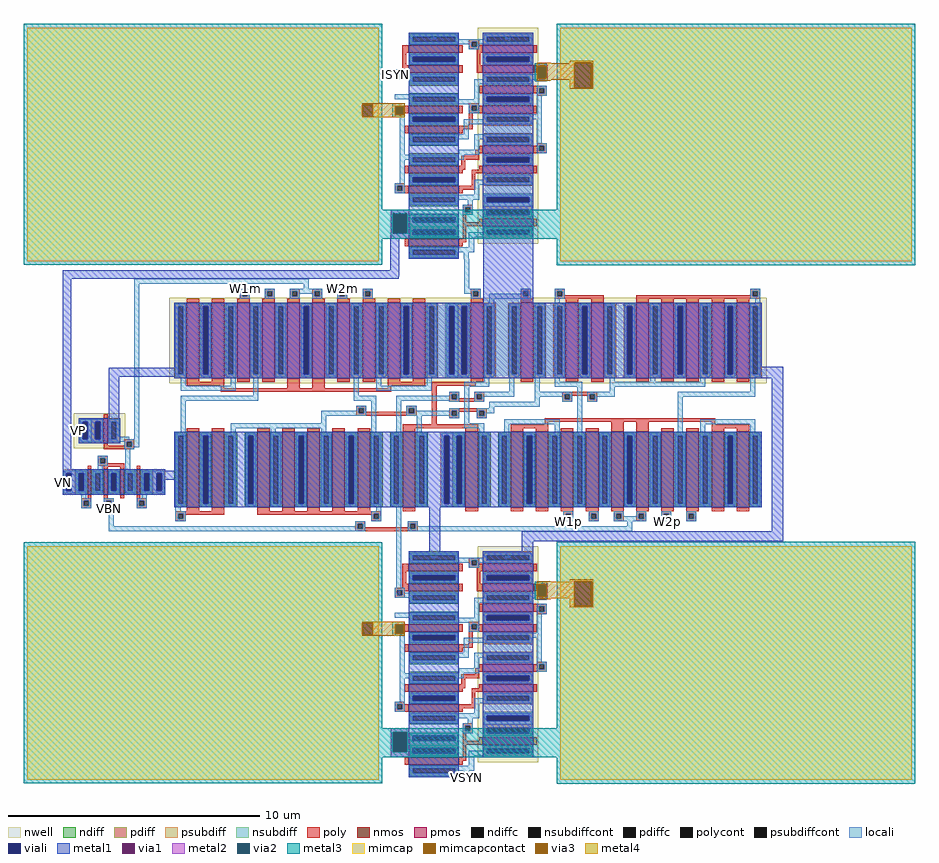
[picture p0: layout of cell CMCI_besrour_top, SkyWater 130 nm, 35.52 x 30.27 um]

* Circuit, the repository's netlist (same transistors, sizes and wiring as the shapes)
* NGSPICE file created from CMCI_besrour_top.ext - technology: sky130A

.subckt bias_gen VP VN VBN VBP
X0 VBP VBN VN VN sky130_fd_pr__nfet_01v8 ad=0.25 pd=1.5 as=0.25 ps=1.5 w=1 l=0.15
X1 VBN VN VN VN sky130_fd_pr__nfet_01v8 ad=0.25 pd=1.5 as=0.5 ps=3 w=1 l=0.15
X2 VBP VBP VP VP sky130_fd_pr__pfet_01v8 ad=0.5 pd=3 as=0.5 ps=3 w=1 l=0.15
X3 VN VBN VBN VN sky130_fd_pr__nfet_01v8 ad=0.25 pd=1.5 as=0.25 ps=1.5 w=1 l=0.15
X4 VN VN VBP VN sky130_fd_pr__nfet_01v8 ad=0.5 pd=3 as=0.25 ps=1.5 w=1 l=0.15
.ends

.subckt CMCI_synapse W1m W0m VBP W2m W3m VP IOUT SPKIN W1p W0p VBN W2p W3p VN
X0 a_450_n1180# W2m a_990_n90# VP sky130_fd_pr__pfet_01v8 ad=0.75 pd=3.5 as=0.75 ps=3.5 w=3 l=0.5
X1 a_190_n1120# SPKIN IOUT VN sky130_fd_pr__nfet_01v8 ad=1.5 pd=7 as=1.5 ps=7 w=3 l=0.5
X2 VN VBN a_3970_n1120# VN sky130_fd_pr__nfet_01v8 ad=0.75 pd=3.5 as=0.75 ps=3.5 w=3 l=0.5
X3 a_3170_n1120# W0p a_2810_n90# VN sky130_fd_pr__nfet_01v8 ad=0.75 pd=3.5 as=0.75 ps=3.5 w=3 l=0.5
X4 a_190_n1120# a_n210_n1120# VN VN sky130_fd_pr__nfet_01v8 ad=1.5 pd=7 as=0.75 ps=3.5 w=3 l=0.5
X5 VN a_n210_n1120# a_n210_n1120# VN sky130_fd_pr__nfet_01v8 ad=0.75 pd=3.5 as=1.5 ps=7 w=3 l=0.5
X6 VP VBP a_590_n90# VP sky130_fd_pr__pfet_01v8 ad=0.75 pd=3.5 as=0.75 ps=3.5 w=3 l=0.5
X7 VP a_2810_n90# a_2810_n90# VP sky130_fd_pr__pfet_01v8 ad=0.75 pd=3.5 as=1.5 ps=7 w=3 l=0.5
X8 VN a_450_n1180# a_190_n1120# VN sky130_fd_pr__nfet_01v8 ad=0.75 pd=3.5 as=0.75 ps=3.5 w=3 l=0.5
X9 a_3470_n120# a_3470_n120# VP VP sky130_fd_pr__pfet_01v8 ad=1.5 pd=7 as=0.75 ps=3.5 w=3 l=0.5
X10 a_1390_n90# VBP VP VP sky130_fd_pr__pfet_01v8 ad=1.5 pd=7 as=0.75 ps=3.5 w=3 l=0.5
X11 VP a_3470_n120# a_190_n1120# VP sky130_fd_pr__pfet_01v8 ad=0.75 pd=3.5 as=0.75 ps=3.5 w=3 l=0.5
X12 a_n210_n90# VBP VP VP sky130_fd_pr__pfet_01v8 ad=0.75 pd=3.5 as=0.75 ps=3.5 w=3 l=0.5
X13 a_190_n1120# a_2810_n90# VP VP sky130_fd_pr__pfet_01v8 ad=1.5 pd=7 as=0.75 ps=3.5 w=3 l=0.5
X14 a_190_n1120# a_450_n1180# VN VN sky130_fd_pr__nfet_01v8 ad=0.75 pd=3.5 as=1.5 ps=7 w=3 l=0.5
X15 a_n210_n1120# W1m a_n210_n90# VP sky130_fd_pr__pfet_01v8 ad=0.75 pd=3.5 as=0.75 ps=3.5 w=3 l=0.5
X16 a_190_n1120# a_2210_n1120# IOUT VP sky130_fd_pr__pfet_01v8 ad=1.5 pd=7 as=1.5 ps=7 w=3 l=0.5
X17 a_2810_n90# W1p a_2370_n1120# VN sky130_fd_pr__nfet_01v8 ad=0.75 pd=3.5 as=0.75 ps=3.5 w=3 l=0.5
X18 a_3970_n1120# W3p a_3470_n120# VN sky130_fd_pr__nfet_01v8 ad=0.75 pd=3.5 as=0.75 ps=3.5 w=3 l=0.5
X19 a_450_n1180# a_450_n1180# VN VN sky130_fd_pr__nfet_01v8 ad=1.5 pd=7 as=0.75 ps=3.5 w=3 l=0.5
X20 a_1390_n90# W3m a_450_n1180# VP sky130_fd_pr__pfet_01v8 ad=0.75 pd=3.5 as=0.75 ps=3.5 w=3 l=0.5
X21 a_2210_n1120# SPKIN VN VN sky130_fd_pr__nfet_01v8 ad=1.5 pd=7 as=1.5 ps=7 w=3 l=0.5
X22 a_3470_n120# W2p a_3570_n1120# VN sky130_fd_pr__nfet_01v8 ad=0.75 pd=3.5 as=0.75 ps=3.5 w=3 l=0.5
X23 a_2210_n1120# SPKIN VP VP sky130_fd_pr__pfet_01v8 ad=1.5 pd=7 as=1.5 ps=7 w=3 l=0.5
X24 a_2370_n1120# VBN VN VN sky130_fd_pr__nfet_01v8 ad=0.75 pd=3.5 as=0.75 ps=3.5 w=3 l=0.5
X25 a_990_n90# VBP VP VP sky130_fd_pr__pfet_01v8 ad=0.75 pd=3.5 as=0.75 ps=3.5 w=3 l=0.5
X26 VN a_450_n1180# a_190_n1120# VN sky130_fd_pr__nfet_01v8 ad=0.75 pd=3.5 as=0.75 ps=3.5 w=3 l=0.5
X27 VP VBP a_n210_n90# VP sky130_fd_pr__pfet_01v8 ad=0.75 pd=3.5 as=1.5 ps=7 w=3 l=0.5
X28 a_190_n1120# a_3470_n120# VP VP sky130_fd_pr__pfet_01v8 ad=0.75 pd=3.5 as=0.75 ps=3.5 w=3 l=0.5
X29 a_3570_n1120# VBN VN VN sky130_fd_pr__nfet_01v8 ad=0.75 pd=3.5 as=0.75 ps=3.5 w=3 l=0.5
X30 VN VBN a_2370_n1120# VN sky130_fd_pr__nfet_01v8 ad=0.75 pd=3.5 as=1.5 ps=7 w=3 l=0.5
X31 a_590_n90# W0m a_n210_n1120# VP sky130_fd_pr__pfet_01v8 ad=0.75 pd=3.5 as=0.75 ps=3.5 w=3 l=0.5
X32 VP a_3470_n120# a_190_n1120# VP sky130_fd_pr__pfet_01v8 ad=0.75 pd=3.5 as=0.75 ps=3.5 w=3 l=0.5
X33 VP VBP a_1390_n90# VP sky130_fd_pr__pfet_01v8 ad=0.75 pd=3.5 as=0.75 ps=3.5 w=3 l=0.5
X34 a_3970_n1120# VBN VN VN sky130_fd_pr__nfet_01v8 ad=1.5 pd=7 as=0.75 ps=3.5 w=3 l=0.5
X35 a_190_n1120# a_3470_n120# VP VP sky130_fd_pr__pfet_01v8 ad=0.75 pd=3.5 as=1.5 ps=7 w=3 l=0.5
X36 VN VBN a_3170_n1120# VN sky130_fd_pr__nfet_01v8 ad=0.75 pd=3.5 as=0.75 ps=3.5 w=3 l=0.5
X37 a_190_n1120# a_450_n1180# VN VN sky130_fd_pr__nfet_01v8 ad=0.75 pd=3.5 as=0.75 ps=3.5 w=3 l=0.5
.ends

.subckt neuron VP VN ISYN VSYN CMEM CRST a_n150_n600#
X0 VN a_270_n40# CRST VN sky130_fd_pr__nfet_01v8 ad=0.5 pd=2.5 as=1 ps=5 w=2 l=0.3
X1 VP a_270_n40# CMEM VP sky130_fd_pr__pfet_01v8 ad=0.5 pd=2.5 as=0.5 ps=2.5 w=2 l=0.3
X2 a_970_n10# CRST VP VP sky130_fd_pr__pfet_01v8 ad=1 pd=5 as=0.5 ps=2.5 w=2 l=0.3
X3 CMEM a_n150_n600# VP VP sky130_fd_pr__pfet_01v8 ad=0.5 pd=2.5 as=0.5 ps=2.5 w=2 l=0.3
X4 VSYN a_970_n10# VN VN sky130_fd_pr__nfet_01v8 ad=1 pd=5 as=1 ps=5 w=2 l=0.3
X5 VP a_270_n40# CRST VP sky130_fd_pr__pfet_01v8 ad=0.5 pd=2.5 as=1 ps=5 w=2 l=0.3
X6 VSYN a_970_n10# VP VP sky130_fd_pr__pfet_01v8 ad=1 pd=5 as=1 ps=5 w=2 l=0.3
X7 VP a_n150_n600# a_n150_n600# VP sky130_fd_pr__pfet_01v8 ad=0.5 pd=2.5 as=1 ps=5 w=2 l=0.3
X8 a_270_n40# CMEM VN VN sky130_fd_pr__nfet_01v8 ad=1 pd=5 as=0.5 ps=2.5 w=2 l=0.3
X9 VN CRST CMEM VN sky130_fd_pr__nfet_01v8 ad=0.5 pd=2.5 as=1 ps=5 w=2 l=0.3
X10 VN ISYN a_n150_n600# VN sky130_fd_pr__nfet_01v8 ad=0.5 pd=2.5 as=1 ps=5 w=2 l=0.3
X11 a_270_n40# CMEM VP VP sky130_fd_pr__pfet_01v8 ad=1 pd=5 as=0.5 ps=2.5 w=2 l=0.3
X12 ISYN ISYN VN VN sky130_fd_pr__nfet_01v8 ad=1 pd=5 as=0.5 ps=2.5 w=2 l=0.3
X13 a_970_n10# CRST VN VN sky130_fd_pr__nfet_01v8 ad=1 pd=5 as=0.5 ps=2.5 w=2 l=0.3
.ends

.subckt neuron_top VSYN ISYN VN VP
Xneuron_0 VP VN ISYN VSYN neuron_0/CMEM neuron_0/CRST li_50_880# neuron
X0 neuron_0/CMEM VN sky130_fd_pr__cap_mim_m3_1 l=14 w=9.3
X1 neuron_0/CRST VN sky130_fd_pr__cap_mim_m3_1 l=14 w=9.3
.ends


* Top level circuit CMCI_besrour_top

Xbias_gen_0 bias_gen_0/VP VSUBS bias_gen_0/VBN bias_gen_0/VBP bias_gen
XCMCI_synapse_0 CMCI_synapse_0/W1m CMCI_synapse_0/W0m bias_gen_0/VBP CMCI_synapse_0/W2m
+ CMCI_synapse_0/W3m bias_gen_0/VP neuron_top_0/ISYN neuron_top_1/VSYN CMCI_synapse_0/W1p
+ CMCI_synapse_0/W0p bias_gen_0/VBN CMCI_synapse_0/W2p CMCI_synapse_0/W3p VSUBS CMCI_synapse
Xneuron_top_0 neuron_top_0/VSYN neuron_top_0/ISYN VSUBS bias_gen_0/VP neuron_top
Xneuron_top_1 neuron_top_1/VSYN neuron_top_1/ISYN VSUBS bias_gen_0/VP neuron_top
.end

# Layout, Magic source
magic
tech sky130A
magscale 1 2
<< poly >>
rect 1480 -20 1560 0
rect 1480 -60 1500 -20
rect 1540 -50 1560 -20
rect 1900 -20 1980 0
rect 1900 -50 1920 -20
rect 1540 -60 1920 -50
rect 1960 -60 1980 -20
rect 1480 -80 1980 -60
<< polycont >>
rect 1500 -60 1540 -20
rect 1920 -60 1960 -20
<< locali >>
rect 1798 3550 1806 3568
rect -280 1890 1110 1930
rect -280 590 -240 1890
rect 1070 1850 1110 1890
rect 2350 1850 2390 2090
rect 602 1844 618 1850
rect 796 1844 812 1850
rect 1380 1844 1390 1850
rect 1576 1844 1598 1850
rect 2350 1810 2400 1850
rect -480 108 -440 110
rect -482 98 -440 108
rect -480 -40 -440 98
rect 1480 -20 1560 0
rect 1480 -40 1500 -20
rect -480 -60 1500 -40
rect 1540 -60 1560 -20
rect -480 -80 1560 -60
rect 1810 -530 1850 10
rect 3176 0 3192 6
rect 3380 0 3396 6
rect 3960 0 3976 6
rect 4156 0 4172 6
rect 1900 -20 1980 0
rect 1900 -60 1920 -20
rect 1960 -40 1980 -20
rect 3650 -40 3690 0
rect 1960 -60 3690 -40
rect 1900 -80 3690 -60
rect 2366 -2040 2382 -2034
<< metal1 >>
rect 1760 2000 1834 2278
rect -850 1950 1834 2000
rect -850 1930 1830 1950
rect -850 410 -780 1930
rect 2500 1740 2900 2250
rect -480 1150 50 1220
rect -480 810 -400 1150
rect 4720 1140 4890 1230
rect -720 714 -710 728
rect -40 330 40 400
rect -844 304 -832 318
rect 2070 -240 2160 110
rect 4800 -80 4890 1140
rect 2810 -160 4890 -80
rect 2810 -310 2900 -160
use bias_gen  bias_gen_0
transform 1 0 -530 0 1 330
box -320 -228 500 531
use CMCI_synapse  CMCI_synapse_0
transform 1 0 250 0 1 1230
box -250 -1230 4510 620
use neuron_top  neuron_top_0
transform 0 1 1798 -1 0 -200
box -34 -2958 1890 4146
use neuron_top  neuron_top_1
transform 0 1 1798 -1 0 3930
box -34 -2958 1890 4146
<< labels >>
rlabel metal1 -720 720 -720 720 7 VP
port 2 w
rlabel metal1 -840 310 -840 310 7 VN
port 1 w
rlabel locali 1800 3560 1800 3560 7 ISYN
port 3 w
rlabel locali 2370 -2040 2370 -2040 5 VSYN
port 4 s
rlabel locali 606 1850 606 1850 1 W1m
port 5 n
rlabel locali 800 1850 800 1850 1 W0m
port 6 n
rlabel locali 1384 1850 1384 1850 1 W2m
port 7 n
rlabel locali 1590 1850 1590 1850 1 W3m
port 8 n
rlabel locali 3184 0 3184 0 1 W1p
port 9 n
rlabel locali 3386 0 3386 0 1 W0p
port 10 n
rlabel locali 3968 0 3968 0 1 W2p
port 11 n
rlabel locali 4164 0 4164 0 1 W3p
port 12 n
rlabel locali -476 102 -476 102 1 VBN
port 13 n
<< end >>

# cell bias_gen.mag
magic
tech sky130A
magscale 1 2
<< nwell >>
rect -230 251 180 531
<< nmos >>
rect -120 -118 -90 82
rect 10 -118 40 82
rect 140 -118 170 82
rect 270 -118 300 82
<< pmos >>
rect 10 291 40 491
<< ndiff >>
rect -220 52 -120 82
rect -220 -88 -190 52
rect -150 -88 -120 52
rect -220 -118 -120 -88
rect -90 52 10 82
rect -90 -88 -60 52
rect -20 -88 10 52
rect -90 -118 10 -88
rect 40 52 140 82
rect 40 -88 70 52
rect 110 -88 140 52
rect 40 -118 140 -88
rect 170 52 270 82
rect 170 -88 200 52
rect 240 -88 270 52
rect 170 -118 270 -88
rect 300 52 400 82
rect 300 -88 330 52
rect 370 -88 400 52
rect 300 -118 400 -88
<< pdiff >>
rect -90 461 10 491
rect -90 321 -60 461
rect -20 321 10 461
rect -90 291 10 321
rect 40 461 140 491
rect 40 321 70 461
rect 110 321 140 461
rect 40 291 140 321
<< ndiffc >>
rect -190 -88 -150 52
rect -60 -88 -20 52
rect 70 -88 110 52
rect 200 -88 240 52
rect 330 -88 370 52
<< pdiffc >>
rect -60 321 -20 461
rect 70 321 110 461
<< psubdiff >>
rect -320 52 -220 82
rect -320 -88 -290 52
rect -250 -88 -220 52
rect -320 -118 -220 -88
rect 400 52 500 82
rect 400 -88 430 52
rect 470 -88 500 52
rect 400 -118 500 -88
<< nsubdiff >>
rect -190 461 -90 491
rect -190 321 -160 461
rect -120 321 -90 461
rect -190 291 -90 321
<< psubdiffcont >>
rect -290 -88 -250 52
rect 430 -88 470 52
<< nsubdiffcont >>
rect -160 321 -120 461
<< poly >>
rect 10 491 40 521
rect 170 301 250 321
rect 10 271 40 291
rect 170 271 190 301
rect 10 261 190 271
rect 230 261 250 301
rect 10 241 250 261
rect -40 172 40 192
rect -40 132 -20 172
rect 20 132 40 172
rect -40 112 170 132
rect -120 82 -90 112
rect 10 102 170 112
rect 10 82 40 102
rect 140 82 170 102
rect 270 82 300 112
rect -120 -148 -90 -118
rect -170 -168 -90 -148
rect -170 -208 -150 -168
rect -110 -208 -90 -168
rect -170 -228 -90 -208
rect 10 -148 40 -118
rect 140 -148 170 -118
rect 270 -148 300 -118
rect 10 -168 90 -148
rect 10 -208 30 -168
rect 70 -208 90 -168
rect 10 -228 90 -208
rect 270 -168 350 -148
rect 270 -208 290 -168
rect 330 -208 350 -168
rect 270 -228 350 -208
<< polycont >>
rect 190 261 230 301
rect -20 132 20 172
rect -150 -208 -110 -168
rect 30 -208 70 -168
rect 290 -208 330 -168
<< locali >>
rect -180 461 0 481
rect -180 321 -160 461
rect -120 321 -60 461
rect -20 321 0 461
rect -180 301 0 321
rect 50 461 130 481
rect 50 321 70 461
rect 110 341 130 461
rect 110 321 210 341
rect 50 301 250 321
rect 170 261 190 301
rect 230 261 250 301
rect 170 241 250 261
rect -40 172 40 192
rect -40 132 -20 172
rect 20 132 40 172
rect -40 112 40 132
rect -40 72 0 112
rect 180 72 220 241
rect -310 52 -130 72
rect -310 -88 -290 52
rect -250 -88 -190 52
rect -150 -88 -130 52
rect -310 -108 -130 -88
rect -80 52 0 72
rect -80 -88 -60 52
rect -20 -88 0 52
rect -80 -108 0 -88
rect 50 52 130 72
rect 50 -88 70 52
rect 110 -88 130 52
rect 50 -108 130 -88
rect 180 52 260 72
rect 180 -88 200 52
rect 240 -88 260 52
rect 180 -108 260 -88
rect 310 52 490 72
rect 310 -88 330 52
rect 370 -88 430 52
rect 470 -88 490 52
rect 310 -108 490 -88
rect -170 -148 -130 -108
rect 310 -148 350 -108
rect -170 -168 -90 -148
rect -170 -208 -150 -168
rect -110 -208 -90 -168
rect -170 -228 -90 -208
rect 10 -168 90 -148
rect 10 -208 30 -168
rect 70 -208 90 -168
rect 10 -228 90 -208
rect 270 -168 350 -148
rect 270 -208 290 -168
rect 330 -208 350 -168
rect 270 -228 350 -208
<< viali >>
rect -160 321 -120 461
rect -60 321 -20 461
rect -290 -88 -250 52
rect -190 -88 -150 52
rect 70 -88 110 52
rect 330 -88 370 52
rect 430 -88 470 52
<< metal1 >>
rect -190 461 140 491
rect -190 321 -160 461
rect -120 321 -60 461
rect -20 321 140 461
rect -190 291 140 321
rect -320 52 500 82
rect -320 -88 -290 52
rect -250 -88 -190 52
rect -150 -88 70 52
rect 110 -88 330 52
rect 370 -88 430 52
rect 470 -88 500 52
rect -320 -118 500 -88
<< labels >>
rlabel metal1 -190 391 -190 391 7 VP
port 1 w
rlabel locali 250 281 250 281 3 VBP
port 4 e
rlabel locali 50 -228 50 -228 5 VBN
port 3 s
rlabel metal1 -320 -18 -320 -18 7 VN
port 2 w
<< end >>

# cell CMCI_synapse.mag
magic
tech sky130A
<< nwell >>
rect -125 -65 2255 275
<< nmos >>
rect -55 -560 -5 -260
rect 45 -560 95 -260
rect 225 -560 275 -260
rect 325 -560 375 -260
rect 425 -560 475 -260
rect 525 -560 575 -260
rect 625 -560 675 -260
rect 805 -560 855 -260
rect 1055 -560 1105 -260
rect 1235 -560 1285 -260
rect 1335 -560 1385 -260
rect 1435 -560 1485 -260
rect 1535 -560 1585 -260
rect 1635 -560 1685 -260
rect 1735 -560 1785 -260
rect 1835 -560 1885 -260
rect 1935 -560 1985 -260
rect 2035 -560 2085 -260
rect 2135 -560 2185 -260
<< pmos >>
rect -55 -45 -5 255
rect 45 -45 95 255
rect 145 -45 195 255
rect 245 -45 295 255
rect 345 -45 395 255
rect 445 -45 495 255
rect 545 -45 595 255
rect 645 -45 695 255
rect 745 -45 795 255
rect 845 -45 895 255
rect 1075 -45 1125 255
rect 1275 -45 1325 255
rect 1455 -45 1505 255
rect 1555 -45 1605 255
rect 1735 -45 1785 255
rect 1835 -45 1885 255
rect 1935 -45 1985 255
rect 2035 -45 2085 255
rect 2135 -45 2185 255
<< ndiff >>
rect -105 -275 -55 -260
rect -105 -545 -90 -275
rect -70 -545 -55 -275
rect -105 -560 -55 -545
rect -5 -275 45 -260
rect -5 -545 10 -275
rect 30 -545 45 -275
rect -5 -560 45 -545
rect 95 -275 145 -260
rect 95 -545 110 -275
rect 130 -545 145 -275
rect 95 -560 145 -545
rect 175 -275 225 -260
rect 175 -545 190 -275
rect 210 -545 225 -275
rect 175 -560 225 -545
rect 275 -275 325 -260
rect 275 -545 290 -275
rect 310 -545 325 -275
rect 275 -560 325 -545
rect 375 -275 425 -260
rect 375 -545 390 -275
rect 410 -545 425 -275
rect 375 -560 425 -545
rect 475 -275 525 -260
rect 475 -545 490 -275
rect 510 -545 525 -275
rect 475 -560 525 -545
rect 575 -275 625 -260
rect 575 -545 590 -275
rect 610 -545 625 -275
rect 575 -560 625 -545
rect 675 -275 725 -260
rect 675 -545 690 -275
rect 710 -545 725 -275
rect 675 -560 725 -545
rect 755 -275 805 -260
rect 755 -545 770 -275
rect 790 -545 805 -275
rect 755 -560 805 -545
rect 855 -275 905 -260
rect 855 -545 870 -275
rect 890 -545 905 -275
rect 855 -560 905 -545
rect 1005 -275 1055 -260
rect 1005 -545 1020 -275
rect 1040 -545 1055 -275
rect 1005 -560 1055 -545
rect 1105 -275 1155 -260
rect 1105 -545 1120 -275
rect 1140 -545 1155 -275
rect 1105 -560 1155 -545
rect 1185 -275 1235 -260
rect 1185 -545 1200 -275
rect 1220 -545 1235 -275
rect 1185 -560 1235 -545
rect 1285 -275 1335 -260
rect 1285 -545 1300 -275
rect 1320 -545 1335 -275
rect 1285 -560 1335 -545
rect 1385 -275 1435 -260
rect 1385 -545 1400 -275
rect 1420 -545 1435 -275
rect 1385 -560 1435 -545
rect 1485 -275 1535 -260
rect 1485 -545 1500 -275
rect 1520 -545 1535 -275
rect 1485 -560 1535 -545
rect 1585 -275 1635 -260
rect 1585 -545 1600 -275
rect 1620 -545 1635 -275
rect 1585 -560 1635 -545
rect 1685 -275 1735 -260
rect 1685 -545 1700 -275
rect 1720 -545 1735 -275
rect 1685 -560 1735 -545
rect 1785 -275 1835 -260
rect 1785 -545 1800 -275
rect 1820 -545 1835 -275
rect 1785 -560 1835 -545
rect 1885 -275 1935 -260
rect 1885 -545 1900 -275
rect 1920 -545 1935 -275
rect 1885 -560 1935 -545
rect 1985 -275 2035 -260
rect 1985 -545 2000 -275
rect 2020 -545 2035 -275
rect 1985 -560 2035 -545
rect 2085 -275 2135 -260
rect 2085 -545 2100 -275
rect 2120 -545 2135 -275
rect 2085 -560 2135 -545
rect 2185 -275 2235 -260
rect 2185 -545 2200 -275
rect 2220 -545 2235 -275
rect 2185 -560 2235 -545
<< pdiff >>
rect -105 240 -55 255
rect -105 -30 -90 240
rect -70 -30 -55 240
rect -105 -45 -55 -30
rect -5 240 45 255
rect -5 -30 10 240
rect 30 -30 45 240
rect -5 -45 45 -30
rect 95 240 145 255
rect 95 -30 110 240
rect 130 -30 145 240
rect 95 -45 145 -30
rect 195 240 245 255
rect 195 -30 210 240
rect 230 -30 245 240
rect 195 -45 245 -30
rect 295 240 345 255
rect 295 -30 310 240
rect 330 -30 345 240
rect 295 -45 345 -30
rect 395 240 445 255
rect 395 -30 410 240
rect 430 -30 445 240
rect 395 -45 445 -30
rect 495 240 545 255
rect 495 -30 510 240
rect 530 -30 545 240
rect 495 -45 545 -30
rect 595 240 645 255
rect 595 -30 610 240
rect 630 -30 645 240
rect 595 -45 645 -30
rect 695 240 745 255
rect 695 -30 710 240
rect 730 -30 745 240
rect 695 -45 745 -30
rect 795 240 845 255
rect 795 -30 810 240
rect 830 -30 845 240
rect 795 -45 845 -30
rect 895 240 945 255
rect 895 -30 910 240
rect 930 -30 945 240
rect 895 -45 945 -30
rect 1025 240 1075 255
rect 1025 -30 1040 240
rect 1060 -30 1075 240
rect 1025 -45 1075 -30
rect 1125 240 1175 255
rect 1125 -30 1140 240
rect 1160 -30 1175 240
rect 1125 -45 1175 -30
rect 1225 240 1275 255
rect 1225 -30 1240 240
rect 1260 -30 1275 240
rect 1225 -45 1275 -30
rect 1325 240 1375 255
rect 1325 -30 1340 240
rect 1360 -30 1375 240
rect 1325 -45 1375 -30
rect 1405 240 1455 255
rect 1405 -30 1420 240
rect 1440 -30 1455 240
rect 1405 -45 1455 -30
rect 1505 240 1555 255
rect 1505 -30 1520 240
rect 1540 -30 1555 240
rect 1505 -45 1555 -30
rect 1605 240 1655 255
rect 1605 -30 1620 240
rect 1640 -30 1655 240
rect 1605 -45 1655 -30
rect 1685 240 1735 255
rect 1685 -30 1700 240
rect 1720 -30 1735 240
rect 1685 -45 1735 -30
rect 1785 240 1835 255
rect 1785 -30 1800 240
rect 1820 -30 1835 240
rect 1785 -45 1835 -30
rect 1885 240 1935 255
rect 1885 -30 1900 240
rect 1920 -30 1935 240
rect 1885 -45 1935 -30
rect 1985 240 2035 255
rect 1985 -30 2000 240
rect 2020 -30 2035 240
rect 1985 -45 2035 -30
rect 2085 240 2135 255
rect 2085 -30 2100 240
rect 2120 -30 2135 240
rect 2085 -45 2135 -30
rect 2185 240 2235 255
rect 2185 -30 2200 240
rect 2220 -30 2235 240
rect 2185 -45 2235 -30
<< ndiffc >>
rect -90 -545 -70 -275
rect 10 -545 30 -275
rect 110 -545 130 -275
rect 190 -545 210 -275
rect 290 -545 310 -275
rect 390 -545 410 -275
rect 490 -545 510 -275
rect 590 -545 610 -275
rect 690 -545 710 -275
rect 770 -545 790 -275
rect 870 -545 890 -275
rect 1020 -545 1040 -275
rect 1120 -545 1140 -275
rect 1200 -545 1220 -275
rect 1300 -545 1320 -275
rect 1400 -545 1420 -275
rect 1500 -545 1520 -275
rect 1600 -545 1620 -275
rect 1700 -545 1720 -275
rect 1800 -545 1820 -275
rect 1900 -545 1920 -275
rect 2000 -545 2020 -275
rect 2100 -545 2120 -275
rect 2200 -545 2220 -275
<< pdiffc >>
rect -90 -30 -70 240
rect 10 -30 30 240
rect 110 -30 130 240
rect 210 -30 230 240
rect 310 -30 330 240
rect 410 -30 430 240
rect 510 -30 530 240
rect 610 -30 630 240
rect 710 -30 730 240
rect 810 -30 830 240
rect 910 -30 930 240
rect 1040 -30 1060 240
rect 1140 -30 1160 240
rect 1240 -30 1260 240
rect 1340 -30 1360 240
rect 1420 -30 1440 240
rect 1520 -30 1540 240
rect 1620 -30 1640 240
rect 1700 -30 1720 240
rect 1800 -30 1820 240
rect 1900 -30 1920 240
rect 2000 -30 2020 240
rect 2100 -30 2120 240
rect 2200 -30 2220 240
<< psubdiff >>
rect 955 -275 1005 -260
rect 955 -545 970 -275
rect 990 -545 1005 -275
rect 955 -560 1005 -545
<< nsubdiff >>
rect 975 240 1025 255
rect 975 -30 990 240
rect 1010 -30 1025 240
rect 975 -45 1025 -30
<< psubdiffcont >>
rect 970 -545 990 -275
<< nsubdiffcont >>
rect 990 -30 1010 240
<< poly >>
rect 155 300 195 310
rect 155 280 165 300
rect 185 280 195 300
rect 155 270 195 280
rect 255 300 295 310
rect 255 280 265 300
rect 285 280 295 300
rect 255 270 295 280
rect 355 300 395 310
rect 355 280 365 300
rect 385 280 395 300
rect 355 270 395 280
rect -55 255 -5 270
rect 45 255 95 270
rect 145 255 195 270
rect 245 255 295 270
rect 345 255 395 270
rect 445 300 485 310
rect 445 280 455 300
rect 475 280 485 300
rect 445 270 485 280
rect 545 300 585 310
rect 545 280 555 300
rect 575 280 585 300
rect 545 270 585 280
rect 645 300 685 310
rect 645 280 655 300
rect 675 280 685 300
rect 645 270 685 280
rect 1075 300 1115 310
rect 1075 280 1085 300
rect 1105 280 1115 300
rect 1075 270 1115 280
rect 1275 300 1315 310
rect 1275 280 1285 300
rect 1305 280 1315 300
rect 1275 270 1315 280
rect 1410 300 1450 310
rect 1410 280 1420 300
rect 1440 285 1450 300
rect 2190 300 2230 310
rect 2190 285 2200 300
rect 1440 280 1605 285
rect 1410 270 1605 280
rect 445 255 495 270
rect 545 255 595 270
rect 645 255 695 270
rect 745 255 795 270
rect 845 255 895 270
rect 1075 255 1125 270
rect 1275 255 1325 270
rect 1455 255 1505 270
rect 1555 255 1605 270
rect 1735 280 2200 285
rect 2220 280 2230 300
rect 1735 270 2230 280
rect 1735 255 1785 270
rect 1835 255 1885 270
rect 1935 255 1985 270
rect 2035 255 2085 270
rect 2135 255 2185 270
rect -55 -60 -5 -45
rect 45 -60 95 -45
rect 145 -60 195 -45
rect 245 -60 295 -45
rect -55 -75 95 -60
rect 80 -85 95 -75
rect 345 -85 395 -45
rect 445 -85 495 -45
rect 545 -60 595 -45
rect 645 -60 695 -45
rect 745 -60 795 -45
rect 845 -60 895 -45
rect 1075 -60 1125 -45
rect 1275 -60 1325 -45
rect 1455 -60 1505 -45
rect 1555 -60 1605 -45
rect 1735 -60 1785 -45
rect 1835 -60 1885 -45
rect 1935 -60 1985 -45
rect 2035 -60 2085 -45
rect 2135 -60 2185 -45
rect 745 -75 895 -60
rect 920 -75 1095 -60
rect 745 -85 760 -75
rect 80 -100 760 -85
rect 620 -165 660 -155
rect 620 -185 630 -165
rect 650 -180 660 -165
rect 820 -165 860 -155
rect 820 -180 830 -165
rect 650 -185 830 -180
rect 850 -185 860 -165
rect 620 -195 860 -185
rect 920 -230 940 -75
rect 990 -110 1030 -100
rect 990 -130 1000 -110
rect 1020 -125 1030 -110
rect 1090 -110 1130 -100
rect 1090 -125 1100 -110
rect 1020 -130 1100 -125
rect 1120 -130 1130 -110
rect 990 -140 1130 -130
rect 1440 -110 1580 -100
rect 1440 -130 1450 -110
rect 1470 -115 1550 -110
rect 1470 -130 1480 -115
rect 1440 -140 1480 -130
rect 1540 -130 1550 -115
rect 1570 -130 1580 -110
rect 1540 -140 1580 -130
rect 990 -175 1140 -165
rect 990 -195 1000 -175
rect 1020 -180 1110 -175
rect 1020 -195 1030 -180
rect 990 -205 1030 -195
rect 1100 -195 1110 -180
rect 1130 -195 1140 -175
rect 1100 -205 1140 -195
rect 1370 -220 2050 -205
rect 1370 -230 1385 -220
rect 805 -245 1105 -230
rect -55 -260 -5 -245
rect 45 -260 95 -245
rect 225 -260 275 -245
rect 325 -260 375 -245
rect 425 -260 475 -245
rect 525 -260 575 -245
rect 625 -260 675 -245
rect 805 -260 855 -245
rect 1055 -260 1105 -245
rect 1235 -245 1385 -230
rect 1235 -260 1285 -245
rect 1335 -260 1385 -245
rect 1435 -260 1485 -245
rect 1535 -260 1585 -245
rect 1635 -260 1685 -220
rect 1735 -260 1785 -220
rect 2035 -230 2050 -220
rect 2035 -245 2185 -230
rect 1835 -260 1885 -245
rect 1935 -260 1985 -245
rect 2035 -260 2085 -245
rect 2135 -260 2185 -245
rect -55 -575 -5 -560
rect 45 -575 95 -560
rect -100 -585 95 -575
rect -100 -605 -90 -585
rect -70 -590 95 -585
rect 225 -575 275 -560
rect 325 -575 375 -560
rect 425 -575 475 -560
rect 525 -575 575 -560
rect 625 -575 675 -560
rect 805 -575 855 -560
rect 1055 -575 1105 -560
rect 1235 -575 1285 -560
rect 1335 -575 1385 -560
rect 1435 -575 1485 -560
rect 1535 -575 1585 -560
rect 1635 -575 1685 -560
rect 225 -585 720 -575
rect 225 -590 690 -585
rect -70 -605 -60 -590
rect -100 -615 -60 -605
rect 680 -605 690 -590
rect 710 -605 720 -585
rect 680 -615 720 -605
rect 1445 -585 1485 -575
rect 1445 -605 1455 -585
rect 1475 -605 1485 -585
rect 1445 -615 1485 -605
rect 1545 -585 1585 -575
rect 1545 -605 1555 -585
rect 1575 -605 1585 -585
rect 1545 -615 1585 -605
rect 1645 -585 1685 -575
rect 1645 -605 1655 -585
rect 1675 -605 1685 -585
rect 1645 -615 1685 -605
rect 1735 -575 1785 -560
rect 1835 -575 1885 -560
rect 1935 -575 1985 -560
rect 2035 -575 2085 -560
rect 2135 -575 2185 -560
rect 1735 -585 1775 -575
rect 1735 -605 1745 -585
rect 1765 -605 1775 -585
rect 1735 -615 1775 -605
rect 1835 -585 1875 -575
rect 1835 -605 1845 -585
rect 1865 -605 1875 -585
rect 1835 -615 1875 -605
rect 1935 -585 1975 -575
rect 1935 -605 1945 -585
rect 1965 -605 1975 -585
rect 1935 -615 1975 -605
<< polycont >>
rect 165 280 185 300
rect 265 280 285 300
rect 365 280 385 300
rect 455 280 475 300
rect 555 280 575 300
rect 655 280 675 300
rect 1085 280 1105 300
rect 1285 280 1305 300
rect 1420 280 1440 300
rect 2200 280 2220 300
rect 630 -185 650 -165
rect 830 -185 850 -165
rect 1000 -130 1020 -110
rect 1100 -130 1120 -110
rect 1450 -130 1470 -110
rect 1550 -130 1570 -110
rect 1000 -195 1020 -175
rect 1110 -195 1130 -175
rect -90 -605 -70 -585
rect 690 -605 710 -585
rect 1455 -605 1475 -585
rect 1555 -605 1575 -585
rect 1655 -605 1675 -585
rect 1745 -605 1765 -585
rect 1845 -605 1865 -585
rect 1945 -605 1965 -585
<< locali >>
rect 155 300 195 310
rect 155 280 165 300
rect 185 280 195 300
rect 155 270 195 280
rect 255 300 295 310
rect 255 280 265 300
rect 285 280 295 300
rect 255 270 295 280
rect 355 300 485 310
rect 355 280 365 300
rect 385 290 455 300
rect 385 280 395 290
rect 355 270 395 280
rect 445 280 455 290
rect 475 280 485 300
rect 445 270 485 280
rect 545 300 585 310
rect 545 280 555 300
rect 575 280 585 300
rect 545 270 585 280
rect 645 300 685 310
rect 645 280 655 300
rect 675 280 685 300
rect 645 270 685 280
rect 1075 300 1115 310
rect 1075 280 1085 300
rect 1105 280 1115 300
rect 1275 300 1315 310
rect 1275 290 1285 300
rect 1075 270 1115 280
rect 1150 280 1285 290
rect 1305 280 1315 300
rect 1150 270 1315 280
rect 1410 300 1450 310
rect 1410 280 1420 300
rect 1440 280 1450 300
rect 1410 270 1450 280
rect 2190 300 2230 310
rect 2190 280 2200 300
rect 2220 280 2230 300
rect 2190 270 2230 280
rect 1150 250 1170 270
rect 1410 250 1430 270
rect 2210 250 2230 270
rect -100 240 -60 250
rect -100 -30 -90 240
rect -70 -30 -60 240
rect -100 -40 -60 -30
rect 0 240 40 250
rect 0 -30 10 240
rect 30 -30 40 240
rect 0 -40 40 -30
rect 100 240 140 250
rect 100 -30 110 240
rect 130 -30 140 240
rect 100 -40 140 -30
rect 200 240 240 250
rect 200 -30 210 240
rect 230 -30 240 240
rect 200 -40 240 -30
rect 300 240 340 250
rect 300 -30 310 240
rect 330 -30 340 240
rect 300 -40 340 -30
rect 400 240 440 250
rect 400 -30 410 240
rect 430 -30 440 240
rect 400 -40 440 -30
rect 500 240 540 250
rect 500 -30 510 240
rect 530 -30 540 240
rect 500 -40 540 -30
rect 600 240 640 250
rect 600 -30 610 240
rect 630 -30 640 240
rect 600 -40 640 -30
rect 700 240 740 250
rect 700 -30 710 240
rect 730 -30 740 240
rect 700 -40 740 -30
rect 800 240 840 250
rect 800 -30 810 240
rect 830 -30 840 240
rect 800 -40 840 -30
rect 900 240 940 250
rect 900 -30 910 240
rect 930 -30 940 240
rect 900 -40 940 -30
rect 980 240 1070 250
rect 980 -30 990 240
rect 1010 -30 1040 240
rect 1060 -30 1070 240
rect 980 -40 1070 -30
rect 1130 240 1170 250
rect 1130 -30 1140 240
rect 1160 -30 1170 240
rect 1130 -40 1170 -30
rect 1230 240 1270 250
rect 1230 -30 1240 240
rect 1260 -30 1270 240
rect 1230 -40 1270 -30
rect 1330 240 1370 250
rect 1330 -30 1340 240
rect 1360 -30 1370 240
rect 1330 -40 1370 -30
rect 1410 240 1450 250
rect 1410 -30 1420 240
rect 1440 -30 1450 240
rect 1410 -40 1450 -30
rect 1510 240 1550 250
rect 1510 -30 1520 240
rect 1540 -30 1550 240
rect 1510 -40 1550 -30
rect 1610 240 1650 250
rect 1610 -30 1620 240
rect 1640 -30 1650 240
rect 1610 -40 1650 -30
rect 1690 240 1730 250
rect 1690 -30 1700 240
rect 1720 -30 1730 240
rect 1690 -40 1730 -30
rect 1790 240 1830 250
rect 1790 -30 1800 240
rect 1820 -30 1830 240
rect 1790 -40 1830 -30
rect 1890 240 1930 250
rect 1890 -30 1900 240
rect 1920 -30 1930 240
rect 1890 -40 1930 -30
rect 1990 240 2030 250
rect 1990 -30 2000 240
rect 2020 -30 2030 240
rect 1990 -40 2030 -30
rect 2090 240 2130 250
rect 2090 -30 2100 240
rect 2120 -30 2130 240
rect 2090 -40 2130 -30
rect 2190 240 2230 250
rect 2190 -30 2200 240
rect 2220 -30 2230 240
rect 2190 -40 2230 -30
rect -80 -75 -60 -40
rect 120 -75 140 -40
rect -80 -95 140 -75
rect 210 -115 230 -40
rect -80 -135 230 -115
rect 610 -115 630 -40
rect 700 -75 720 -40
rect 900 -75 920 -40
rect 1130 -60 1150 -40
rect 700 -95 920 -75
rect 1050 -80 1150 -60
rect 990 -110 1030 -100
rect 990 -115 1000 -110
rect 610 -135 700 -115
rect -80 -265 -60 -135
rect 620 -165 660 -155
rect 620 -175 630 -165
rect 480 -185 630 -175
rect 650 -185 660 -165
rect 480 -195 660 -185
rect 480 -225 500 -195
rect 120 -245 500 -225
rect 120 -265 140 -245
rect 280 -265 300 -245
rect 480 -265 500 -245
rect 680 -265 700 -135
rect 780 -130 1000 -115
rect 1020 -130 1030 -110
rect 780 -135 1030 -130
rect 780 -265 800 -135
rect 990 -140 1030 -135
rect 820 -165 860 -155
rect 820 -185 830 -165
rect 850 -175 860 -165
rect 990 -175 1030 -165
rect 850 -185 1000 -175
rect 820 -195 1000 -185
rect 1020 -195 1030 -175
rect -100 -275 -60 -265
rect -100 -545 -90 -275
rect -70 -545 -60 -275
rect -100 -555 -60 -545
rect 0 -275 40 -265
rect 0 -545 10 -275
rect 30 -545 40 -275
rect 0 -555 40 -545
rect 100 -275 140 -265
rect 100 -545 110 -275
rect 130 -545 140 -275
rect 100 -555 140 -545
rect 180 -275 220 -265
rect 180 -545 190 -275
rect 210 -545 220 -275
rect 180 -555 220 -545
rect 280 -275 320 -265
rect 280 -545 290 -275
rect 310 -545 320 -275
rect 280 -555 320 -545
rect 380 -275 420 -265
rect 380 -545 390 -275
rect 410 -545 420 -275
rect 380 -555 420 -545
rect 480 -275 520 -265
rect 480 -545 490 -275
rect 510 -545 520 -275
rect 480 -555 520 -545
rect 580 -275 620 -265
rect 580 -545 590 -275
rect 610 -545 620 -275
rect 580 -555 620 -545
rect 680 -275 720 -265
rect 680 -545 690 -275
rect 710 -545 720 -275
rect 680 -555 720 -545
rect 760 -275 800 -265
rect 760 -545 770 -275
rect 790 -545 800 -275
rect 760 -555 800 -545
rect 860 -265 880 -195
rect 990 -205 1030 -195
rect 1050 -225 1070 -80
rect 1230 -100 1250 -40
rect 1090 -110 1250 -100
rect 1090 -130 1100 -110
rect 1120 -120 1250 -110
rect 1330 -100 1350 -40
rect 1410 -60 1430 -40
rect 1630 -60 1650 -40
rect 1790 -60 1810 -40
rect 1990 -60 2010 -40
rect 1410 -80 1520 -60
rect 1330 -110 1480 -100
rect 1330 -120 1450 -110
rect 1120 -130 1130 -120
rect 1090 -140 1130 -130
rect 1330 -140 1350 -120
rect 1440 -130 1450 -120
rect 1470 -130 1480 -110
rect 1440 -140 1480 -130
rect 1150 -160 1350 -140
rect 1150 -165 1170 -160
rect 1100 -175 1170 -165
rect 1100 -195 1110 -175
rect 1130 -185 1170 -175
rect 1130 -195 1140 -185
rect 1100 -205 1140 -195
rect 1050 -245 1130 -225
rect 1110 -265 1130 -245
rect 1210 -230 1430 -210
rect 1210 -265 1230 -230
rect 1410 -265 1430 -230
rect 1500 -265 1520 -80
rect 1630 -80 2010 -60
rect 1630 -100 1650 -80
rect 2190 -100 2210 -40
rect 1540 -110 1650 -100
rect 1540 -130 1550 -110
rect 1570 -120 1650 -110
rect 1900 -120 2210 -100
rect 1570 -130 1580 -120
rect 1540 -140 1580 -130
rect 1900 -265 1920 -120
rect 1990 -230 2210 -210
rect 1990 -265 2010 -230
rect 2190 -265 2210 -230
rect 860 -275 900 -265
rect 860 -545 870 -275
rect 890 -545 900 -275
rect 860 -555 900 -545
rect 960 -275 1050 -265
rect 960 -545 970 -275
rect 990 -545 1020 -275
rect 1040 -545 1050 -275
rect 960 -555 1050 -545
rect 1110 -275 1150 -265
rect 1110 -545 1120 -275
rect 1140 -545 1150 -275
rect 1110 -555 1150 -545
rect 1190 -275 1230 -265
rect 1190 -545 1200 -275
rect 1220 -545 1230 -275
rect 1190 -555 1230 -545
rect 1290 -275 1330 -265
rect 1290 -545 1300 -275
rect 1320 -545 1330 -275
rect 1290 -555 1330 -545
rect 1390 -275 1430 -265
rect 1390 -545 1400 -275
rect 1420 -545 1430 -275
rect 1390 -555 1430 -545
rect 1490 -275 1530 -265
rect 1490 -545 1500 -275
rect 1520 -545 1530 -275
rect 1490 -555 1530 -545
rect 1590 -275 1630 -265
rect 1590 -545 1600 -275
rect 1620 -545 1630 -275
rect 1590 -555 1630 -545
rect 1690 -275 1730 -265
rect 1690 -545 1700 -275
rect 1720 -545 1730 -275
rect 1690 -555 1730 -545
rect 1790 -275 1830 -265
rect 1790 -545 1800 -275
rect 1820 -545 1830 -275
rect 1790 -555 1830 -545
rect 1890 -275 1930 -265
rect 1890 -545 1900 -275
rect 1920 -545 1930 -275
rect 1890 -555 1930 -545
rect 1990 -275 2030 -265
rect 1990 -545 2000 -275
rect 2020 -545 2030 -275
rect 1990 -555 2030 -545
rect 2090 -275 2130 -265
rect 2090 -545 2100 -275
rect 2120 -545 2130 -275
rect 2090 -555 2130 -545
rect 2190 -275 2230 -265
rect 2190 -545 2200 -275
rect 2220 -545 2230 -275
rect 2190 -555 2230 -545
rect -100 -575 -80 -555
rect 700 -575 720 -555
rect -100 -585 -60 -575
rect -100 -605 -90 -585
rect -70 -605 -60 -585
rect -100 -615 -60 -605
rect 680 -585 720 -575
rect 680 -605 690 -585
rect 710 -605 720 -585
rect 680 -615 720 -605
rect 780 -615 800 -555
rect 1445 -585 1485 -575
rect 1445 -605 1455 -585
rect 1475 -605 1485 -585
rect 1445 -615 1485 -605
rect 1545 -585 1585 -575
rect 1545 -605 1555 -585
rect 1575 -605 1585 -585
rect 1545 -615 1585 -605
rect 1645 -585 1685 -575
rect 1645 -605 1655 -585
rect 1675 -595 1685 -585
rect 1735 -585 1775 -575
rect 1735 -595 1745 -585
rect 1675 -605 1745 -595
rect 1765 -605 1775 -585
rect 1645 -615 1775 -605
rect 1835 -585 1875 -575
rect 1835 -605 1845 -585
rect 1865 -605 1875 -585
rect 1835 -615 1875 -605
rect 1935 -585 1975 -575
rect 1935 -605 1945 -585
rect 1965 -605 1975 -585
rect 1935 -615 1975 -605
<< viali >>
rect 10 -30 30 240
rect 410 -30 430 240
rect 810 -30 830 240
rect 990 -30 1010 240
rect 1040 -30 1060 240
rect 1520 -30 1540 240
rect 1700 -30 1720 240
rect 1900 -30 1920 240
rect 2100 -30 2120 240
rect 10 -545 30 -275
rect 190 -545 210 -275
rect 390 -545 410 -275
rect 590 -545 610 -275
rect 970 -545 990 -275
rect 1020 -545 1040 -275
rect 1300 -545 1320 -275
rect 1700 -545 1720 -275
rect 2100 -545 2120 -275
<< metal1 >>
rect -105 240 2235 255
rect -105 -30 10 240
rect 30 -30 410 240
rect 430 -30 810 240
rect 830 -30 990 240
rect 1010 -30 1040 240
rect 1060 -30 1520 240
rect 1540 -30 1700 240
rect 1720 -30 1900 240
rect 1920 -30 2100 240
rect 2120 -30 2235 240
rect -105 -45 2235 -30
rect -105 -275 2235 -260
rect -105 -545 10 -275
rect 30 -545 190 -275
rect 210 -545 390 -275
rect 410 -545 590 -275
rect 610 -545 970 -275
rect 990 -545 1020 -275
rect 1040 -545 1300 -275
rect 1320 -545 1700 -275
rect 1720 -545 2100 -275
rect 2120 -545 2235 -275
rect -105 -560 2235 -545
<< labels >>
rlabel locali 175 310 175 310 1 W1m
port 1 n
rlabel locali 275 310 275 310 1 W0m
port 2 n
rlabel locali 565 310 565 310 1 W2m
port 4 n
rlabel locali 665 310 665 310 1 W3m
port 5 n
rlabel locali 1465 -615 1465 -615 5 W1p
port 10 s
rlabel locali 1565 -615 1565 -615 5 W0p
port 11 s
rlabel locali 1855 -615 1855 -615 5 W2p
port 13 s
rlabel locali 1955 -615 1955 -615 5 W3p
port 14 s
rlabel metal1 -105 105 -105 105 7 VP
port 6 w
rlabel locali 420 310 420 310 1 VBP
port 3 n
rlabel locali 1710 -615 1710 -615 5 VBN
port 12 s
rlabel locali 790 -615 790 -615 5 IOUT
port 8 s
rlabel metal1 -105 -410 -105 -410 7 VN
port 15 w
rlabel locali 1095 310 1095 310 1 SPKIN
port 9 s
<< end >>

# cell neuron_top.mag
magic
tech sky130A
<< locali >>
rect 148 601 208 608
rect 148 578 157 601
rect 199 578 208 601
rect 148 573 208 578
rect 186 535 208 573
rect 25 440 45 460
rect 900 275 920 295
rect 25 145 45 165
rect 175 0 195 20
rect 265 0 285 20
rect 310 10 319 20
rect 310 0 330 10
<< viali >>
rect 157 578 199 601
rect 319 10 341 31
<< metal1 >>
rect 148 604 208 608
rect 148 578 157 604
rect 199 578 208 604
rect 148 573 208 578
rect 25 440 44 460
rect 24 144 46 165
rect 725 49 841 58
rect 310 33 350 40
rect 310 7 315 33
rect 342 7 350 33
rect 310 0 350 7
rect 725 -9 740 49
rect 818 -9 841 49
rect 725 -17 841 -9
<< via1 >>
rect 157 601 199 604
rect 157 578 199 601
rect 315 31 342 33
rect 315 10 319 31
rect 319 10 341 31
rect 341 10 342 31
rect 315 7 342 10
rect 740 -9 818 49
<< metal2 >>
rect 148 604 208 608
rect 148 602 157 604
rect 199 602 208 604
rect 148 573 154 602
rect 201 573 208 602
rect 725 49 841 58
rect 310 36 350 40
rect 310 7 315 36
rect 344 7 350 36
rect 310 0 350 7
rect 725 -9 740 49
rect 818 -9 841 49
rect 725 -17 841 -9
<< via2 >>
rect 154 578 157 602
rect 157 578 199 602
rect 199 578 201 602
rect 154 573 201 578
rect 315 33 344 36
rect 315 7 342 33
rect 342 7 344 33
rect 740 -9 818 49
<< metal3 >>
rect -17 645 945 2073
rect 141 602 213 605
rect 141 566 154 602
rect 202 566 213 602
rect 141 556 213 566
rect 725 49 841 645
rect 301 36 357 40
rect 301 2 313 36
rect 346 2 357 36
rect 301 -10 357 2
rect 725 -9 740 49
rect 818 -9 841 49
rect 725 -51 841 -9
rect -16 -1479 944 -51
<< via3 >>
rect 154 573 201 602
rect 201 573 202 602
rect 154 566 202 573
rect 313 7 315 36
rect 315 7 344 36
rect 344 7 346 36
rect 313 2 346 7
<< mimcap >>
rect 0 783 930 2059
rect 0 714 140 783
rect 240 714 930 783
rect 0 659 930 714
rect 0 -88 930 -65
rect 0 -130 304 -88
rect 354 -130 930 -88
rect 0 -1465 930 -130
<< mimcapcontact >>
rect 140 714 240 783
rect 304 -130 354 -88
<< metal4 >>
rect 131 783 243 790
rect 131 714 140 783
rect 240 714 243 783
rect 131 697 243 714
rect 141 621 208 697
rect 140 620 209 621
rect 140 602 211 620
rect 140 566 154 602
rect 202 566 211 602
rect 142 565 211 566
rect 301 36 357 40
rect 301 2 313 36
rect 346 2 357 36
rect 301 -88 357 2
rect 301 -130 304 -88
rect 354 -130 357 -88
rect 301 -131 357 -130
use neuron  neuron_0
transform 1 0 95 0 1 355
box -95 -355 825 250
<< labels >>
rlabel locali 920 285 920 285 3 VSYN
port 1 e
rlabel locali 185 0 185 0 5 ISYN
port 2 s
rlabel metal1 25 155 25 155 3 VN
port 3 e
rlabel metal1 25 450 25 450 7 VP
port 4 w
<< end >>

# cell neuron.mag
magic
tech sky130A
<< nwell >>
rect -95 -25 765 215
<< nmos >>
rect -25 -300 5 -100
rect 55 -300 85 -100
rect 215 -300 245 -100
rect 295 -300 325 -100
rect 455 -300 485 -100
rect 535 -300 565 -100
rect 745 -300 775 -100
<< pmos >>
rect -25 -5 5 195
rect 55 -5 85 195
rect 135 -5 165 195
rect 215 -5 245 195
rect 375 -5 405 195
rect 455 -5 485 195
rect 665 -5 695 195
<< ndiff >>
rect -75 -115 -25 -100
rect -75 -285 -60 -115
rect -40 -285 -25 -115
rect -75 -300 -25 -285
rect 5 -115 55 -100
rect 5 -285 20 -115
rect 40 -285 55 -115
rect 5 -300 55 -285
rect 85 -115 135 -100
rect 85 -285 100 -115
rect 120 -285 135 -115
rect 85 -300 135 -285
rect 165 -115 215 -100
rect 165 -285 180 -115
rect 200 -285 215 -115
rect 165 -300 215 -285
rect 245 -115 295 -100
rect 245 -285 260 -115
rect 280 -285 295 -115
rect 245 -300 295 -285
rect 325 -115 375 -100
rect 325 -285 340 -115
rect 360 -285 375 -115
rect 325 -300 375 -285
rect 405 -115 455 -100
rect 405 -285 420 -115
rect 440 -285 455 -115
rect 405 -300 455 -285
rect 485 -115 535 -100
rect 485 -285 500 -115
rect 520 -285 535 -115
rect 485 -300 535 -285
rect 565 -115 615 -100
rect 565 -285 580 -115
rect 600 -285 615 -115
rect 565 -300 615 -285
rect 695 -115 745 -100
rect 695 -285 710 -115
rect 730 -285 745 -115
rect 695 -300 745 -285
rect 775 -115 825 -100
rect 775 -285 790 -115
rect 810 -285 825 -115
rect 775 -300 825 -285
<< pdiff >>
rect -75 180 -25 195
rect -75 10 -60 180
rect -40 10 -25 180
rect -75 -5 -25 10
rect 5 180 55 195
rect 5 10 20 180
rect 40 10 55 180
rect 5 -5 55 10
rect 85 180 135 195
rect 85 10 100 180
rect 120 10 135 180
rect 85 -5 135 10
rect 165 180 215 195
rect 165 10 180 180
rect 200 10 215 180
rect 165 -5 215 10
rect 245 180 295 195
rect 245 10 260 180
rect 280 10 295 180
rect 245 -5 295 10
rect 325 180 375 195
rect 325 10 340 180
rect 360 10 375 180
rect 325 -5 375 10
rect 405 180 455 195
rect 405 10 420 180
rect 440 10 455 180
rect 405 -5 455 10
rect 485 180 535 195
rect 485 10 500 180
rect 520 10 535 180
rect 485 -5 535 10
rect 615 180 665 195
rect 615 10 630 180
rect 650 10 665 180
rect 615 -5 665 10
rect 695 180 745 195
rect 695 10 710 180
rect 730 10 745 180
rect 695 -5 745 10
<< ndiffc >>
rect -60 -285 -40 -115
rect 20 -285 40 -115
rect 100 -285 120 -115
rect 180 -285 200 -115
rect 260 -285 280 -115
rect 340 -285 360 -115
rect 420 -285 440 -115
rect 500 -285 520 -115
rect 580 -285 600 -115
rect 710 -285 730 -115
rect 790 -285 810 -115
<< pdiffc >>
rect -60 10 -40 180
rect 20 10 40 180
rect 100 10 120 180
rect 180 10 200 180
rect 260 10 280 180
rect 340 10 360 180
rect 420 10 440 180
rect 500 10 520 180
rect 630 10 650 180
rect 710 10 730 180
<< psubdiff >>
rect 645 -115 695 -100
rect 645 -285 660 -115
rect 680 -285 695 -115
rect 645 -300 695 -285
<< nsubdiff >>
rect 565 180 615 195
rect 565 10 580 180
rect 600 10 615 180
rect 565 -5 615 10
<< psubdiffcont >>
rect 660 -285 680 -115
<< nsubdiffcont >>
rect 580 10 600 180
<< poly >>
rect 135 240 175 250
rect 135 220 145 240
rect 165 220 175 240
rect 135 210 175 220
rect 365 240 405 250
rect 365 220 375 240
rect 395 220 405 240
rect 365 210 405 220
rect -25 195 5 210
rect 55 195 85 210
rect 135 195 165 210
rect 215 195 245 210
rect 375 195 405 210
rect 455 195 485 210
rect 665 195 695 210
rect -25 -15 5 -5
rect 55 -15 85 -5
rect -25 -20 85 -15
rect 135 -20 165 -5
rect 215 -20 245 -5
rect 375 -20 405 -5
rect 455 -20 485 -5
rect 665 -20 695 -5
rect -50 -30 85 -20
rect 205 -30 245 -20
rect -50 -50 -40 -30
rect -20 -50 -10 -30
rect -50 -60 -10 -50
rect 205 -50 215 -30
rect 235 -45 245 -30
rect 390 -35 430 -20
rect 235 -50 310 -45
rect 205 -60 310 -50
rect 295 -85 310 -60
rect 415 -75 430 -35
rect 470 -35 485 -20
rect 470 -50 550 -35
rect 415 -85 470 -75
rect 535 -85 550 -50
rect 610 -55 650 -45
rect 610 -75 620 -55
rect 640 -70 650 -55
rect 680 -70 695 -20
rect 640 -75 760 -70
rect 610 -85 760 -75
rect -25 -100 5 -85
rect 55 -100 85 -85
rect 215 -100 245 -85
rect 295 -100 325 -85
rect 415 -90 485 -85
rect 455 -100 485 -90
rect 535 -100 565 -85
rect 745 -100 775 -85
rect -25 -310 5 -300
rect 55 -310 85 -300
rect -25 -315 85 -310
rect 215 -315 245 -300
rect 295 -315 325 -300
rect 455 -315 485 -300
rect 535 -315 565 -300
rect 745 -315 775 -300
rect -25 -325 110 -315
rect 70 -345 80 -325
rect 100 -345 110 -325
rect 70 -355 110 -345
rect 215 -325 255 -315
rect 215 -345 225 -325
rect 245 -345 255 -325
rect 215 -355 255 -345
rect 525 -325 565 -315
rect 525 -345 535 -325
rect 555 -345 565 -325
rect 525 -355 565 -345
<< polycont >>
rect 145 220 165 240
rect 375 220 395 240
rect -40 -50 -20 -30
rect 215 -50 235 -30
rect 620 -75 640 -55
rect 80 -345 100 -325
rect 225 -345 245 -325
rect 535 -345 555 -325
<< locali >>
rect 135 240 175 250
rect 135 220 145 240
rect 165 230 175 240
rect 365 240 405 250
rect 365 230 375 240
rect 165 220 375 230
rect 395 220 405 240
rect 135 210 405 220
rect 250 190 270 210
rect -70 180 -30 190
rect -70 10 -60 180
rect -40 10 -30 180
rect -70 0 -30 10
rect 10 180 50 190
rect 10 10 20 180
rect 40 10 50 180
rect 10 0 50 10
rect 90 180 130 190
rect 90 10 100 180
rect 120 10 130 180
rect 90 0 130 10
rect 170 180 210 190
rect 170 10 180 180
rect 200 10 210 180
rect 170 0 210 10
rect 250 180 290 190
rect 250 10 260 180
rect 280 10 290 180
rect 250 0 290 10
rect -50 -20 -30 0
rect 110 -20 130 0
rect -50 -30 -10 -20
rect -50 -50 -40 -30
rect -20 -50 -10 -30
rect 110 -30 245 -20
rect 110 -40 215 -30
rect -50 -60 -10 -50
rect 190 -50 215 -40
rect 235 -50 245 -30
rect 190 -60 245 -50
rect 270 -60 290 0
rect 330 180 370 190
rect 330 10 340 180
rect 360 10 370 180
rect 330 0 370 10
rect 410 180 450 190
rect 410 10 420 180
rect 440 10 450 180
rect 410 0 450 10
rect 490 180 530 190
rect 490 10 500 180
rect 520 10 530 180
rect 490 0 530 10
rect 570 180 660 190
rect 570 10 580 180
rect 600 10 630 180
rect 650 10 660 180
rect 570 0 660 10
rect 700 180 740 190
rect 700 10 710 180
rect 730 10 740 180
rect 700 0 740 10
rect 330 -20 350 0
rect 510 -20 530 0
rect 330 -40 410 -20
rect 510 -40 590 -20
rect -50 -105 -30 -60
rect 190 -105 210 -60
rect 270 -80 350 -60
rect 330 -105 350 -80
rect 390 -80 410 -40
rect 570 -45 590 -40
rect 720 -40 740 0
rect 570 -55 650 -45
rect 570 -65 620 -55
rect 390 -100 430 -80
rect 410 -105 430 -100
rect 570 -105 590 -65
rect 610 -75 620 -65
rect 640 -75 650 -55
rect 720 -60 800 -40
rect 610 -85 650 -75
rect 780 -80 825 -60
rect 780 -105 800 -80
rect -70 -115 -30 -105
rect -70 -285 -60 -115
rect -40 -285 -30 -115
rect -70 -295 -30 -285
rect 10 -115 50 -105
rect 10 -285 20 -115
rect 40 -285 50 -115
rect 10 -295 50 -285
rect 90 -115 130 -105
rect 90 -285 100 -115
rect 120 -285 130 -115
rect 90 -295 130 -285
rect 170 -115 210 -105
rect 170 -285 180 -115
rect 200 -285 210 -115
rect 170 -295 210 -285
rect 250 -115 290 -105
rect 250 -285 260 -115
rect 280 -285 290 -115
rect 250 -295 290 -285
rect 330 -115 370 -105
rect 330 -285 340 -115
rect 360 -285 370 -115
rect 330 -295 370 -285
rect 410 -115 450 -105
rect 410 -285 420 -115
rect 440 -285 450 -115
rect 410 -295 450 -285
rect 490 -115 530 -105
rect 490 -285 500 -115
rect 520 -285 530 -115
rect 490 -295 530 -285
rect 570 -115 610 -105
rect 570 -285 580 -115
rect 600 -285 610 -115
rect 570 -295 610 -285
rect 650 -115 740 -105
rect 650 -285 660 -115
rect 680 -285 710 -115
rect 730 -285 740 -115
rect 650 -295 740 -285
rect 780 -115 820 -105
rect 780 -285 790 -115
rect 810 -285 820 -115
rect 780 -295 820 -285
rect 90 -315 110 -295
rect 70 -325 110 -315
rect 70 -345 80 -325
rect 100 -345 110 -325
rect 70 -355 110 -345
rect 170 -355 190 -295
rect 410 -315 430 -295
rect 215 -325 565 -315
rect 215 -345 225 -325
rect 245 -335 535 -325
rect 245 -345 255 -335
rect 215 -355 255 -345
rect 525 -345 535 -335
rect 555 -345 565 -325
rect 525 -355 565 -345
<< viali >>
rect 20 10 40 180
rect 180 10 200 180
rect 420 10 440 180
rect 580 10 600 180
rect 630 10 650 180
rect 20 -285 40 -115
rect 260 -285 280 -115
rect 500 -285 520 -115
rect 660 -285 680 -115
rect 710 -285 730 -115
<< metal1 >>
rect -75 180 745 195
rect -75 10 20 180
rect 40 10 180 180
rect 200 10 420 180
rect 440 10 580 180
rect 600 10 630 180
rect 650 10 745 180
rect -75 -5 745 10
rect -75 -115 825 -100
rect -75 -285 20 -115
rect 40 -285 260 -115
rect 280 -285 500 -115
rect 520 -285 660 -115
rect 680 -285 710 -115
rect 730 -285 825 -115
rect -75 -300 825 -285
<< labels >>
rlabel metal1 -70 95 -70 95 7 VP
port 1 w
rlabel metal1 -70 -200 -70 -200 7 VN
port 2 w
rlabel locali 825 -70 825 -70 3 VSYN
port 4 e
rlabel locali 90 -355 90 -355 5 ISYN
port 3 s
rlabel locali 180 -355 180 -355 5 CMEM
port 5 s
rlabel locali 225 -355 225 -355 5 CRST
port 6 s
<< end >>
